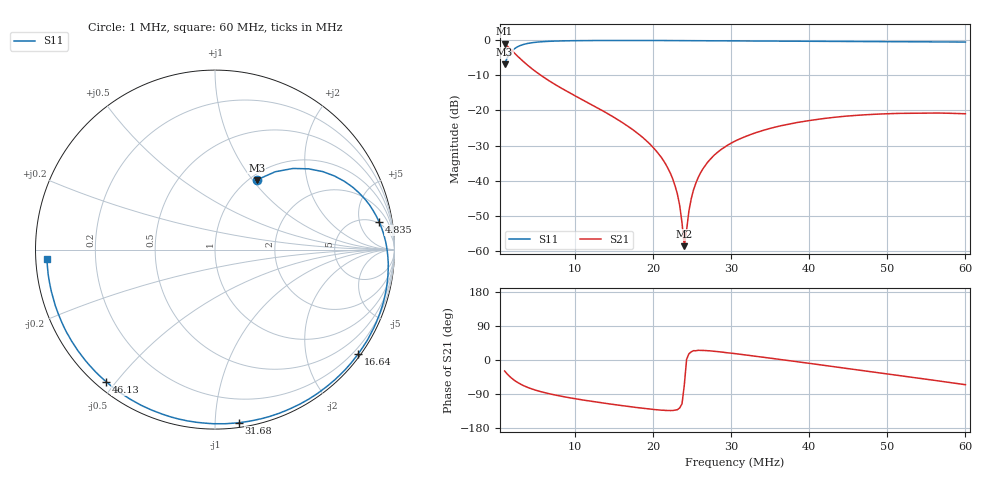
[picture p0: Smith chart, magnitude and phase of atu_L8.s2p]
! S11/S21 from S-A-A-2 VNA
! Written 2026-11-14 07:42:43 by the saav2 MCP server
! S12 and S22 were not measured (1.5-port VNA) and are written as 0
# HZ S RI R 50
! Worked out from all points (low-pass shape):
!   201 points, 1 MHz to 60 MHz, reference 50 ohm
!   highest |S21| = -1.03 dB at 1 MHz (marker M1); lowest = -58.5 dB at 24.01 MHz (marker M2)
!   |S21| within 3 dB of the highest: start of sweep to 2.414 MHz
!   lowest |S11| = -6.9 dB at 1 MHz (marker M3), VSWR 2.65, Z = 53.8 + j52.5 ohm
!   |S11| at or under -10 dB: nowhere
!   S12 and S22 are empty: the file has one direction only
!   S11 on the Smith chart (normalised r, x): 1 MHz: 1.08, +1.05; 4.835 MHz: 4, +10; 16.64 MHz: 0.07, -3.05; 31.68 MHz: 0.03, -1.15; 46.13 MHz: 0.03, -0.47; 60 MHz: 0.03, -0.03
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1000000  0.2326 0.3882  0.7768 -0.4303  0 0  0 0
1590000  0.4346 0.4521  0.5739 -0.521  0 0  0 0
2770000  0.7205 0.3806  0.2824 -0.5011  0 0  0 0
4835000  0.9142 0.1545  0.0716 -0.3598  0 0  0 0
7490000  0.9654 -0.0763  -0.0102 -0.2329  0 0  0 0
1.103e7  0.9343 -0.3067  -0.0377 -0.1355  0 0  0 0
1.6635e7  0.7962 -0.5836  -0.0325 -0.052  0 0  0 0
2.0765e7  0.6491 -0.7414  -0.0159 -0.0178  0 0  0 0
2.224e7  0.5895 -0.7884  -0.00878 -0.00928  0 0  0 0
2.3125e7  0.5517 -0.8144  -0.00428 -0.00489  0 0  0 0
2.3715e7  0.5262 -0.8311  -0.00109 -0.0023  0 0  0 0
2.401e7  0.5128 -0.8386  0.000482 -0.00108  0 0  0 0
2.46e7  0.4859 -0.8533  0.00359 0.00107  0 0  0 0
2.4895e7  0.4726 -0.8611  0.00519 0.00204  0 0  0 0
2.578e7  0.4311 -0.8813  0.01 0.00479  0 0  0 0
2.7845e7  0.3311 -0.9205  0.0214 0.00913  0 0  0 0
3.05e7  0.1953 -0.9555  0.0351 0.0106  0 0  0 0
3.168e7  0.1328 -0.9643  0.0408 0.01  0 0  0 0
4.053e7  -0.3387 -0.9  0.0722 -0.0132  0 0  0 0
4.6135e7  -0.6057 -0.7368  0.0768 -0.0374  0 0  0 0
5.0265e7  -0.7632 -0.564  0.0713 -0.0552  0 0  0 0
6e7  -0.9364 -0.0545  0.0379 -0.0815  0 0  0 0
